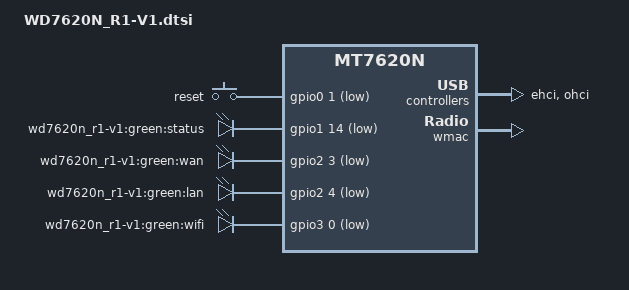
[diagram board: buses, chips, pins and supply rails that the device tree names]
#include "mt7620n.dtsi"

#include <dt-bindings/gpio/gpio.h>
#include <dt-bindings/input/input.h>

/ {
	compatible ="wd7620n_r1-v1-4M", "wd7620n_r1-v1-8M", "ralink,mt7620n-soc";

	gpio-keys-polled {
		compatible = "gpio-keys-polled";
		#address-cells = <1>;
		#size-cells = <0>;
		poll-interval = <20>;

		reset {
			label = "reset";
			gpios = <&gpio0 1 GPIO_ACTIVE_LOW>;
			linux,code = <KEY_RESTART>;
		};
	};

	gpio-leds {
		compatible = "gpio-leds";

		usb {
			label = "wd7620n_r1-v1:green:status";
			gpios = <&gpio1 14 GPIO_ACTIVE_LOW>;
		};

		wan {
			label = "wd7620n_r1-v1:green:wan";
			gpios = <&gpio2 3 GPIO_ACTIVE_LOW>;
		};

		lan {
			label = "wd7620n_r1-v1:green:lan";
			gpios = <&gpio2 4 GPIO_ACTIVE_LOW>;
		};

		wifi {
			label = "wd7620n_r1-v1:green:wifi";
			gpios = <&gpio3 0 GPIO_ACTIVE_LOW>;
		};
	};
};

&ehci {
	status = "okay";
};

&ohci {
	status = "okay";
};

&gpio0 {
	status = "okay";
};
 
&gpio1 {
	status = "okay";
};

&gpio2 {
	status = "okay";
};

&gpio3 {
	status = "okay";
};

&ethernet {
	mtd-mac-address = <&factory 0x4>;
	mediatek,portmap = "wllll";
};

&wmac {
	ralink,mtd-eeprom = <&factory 0>;
};

&pinctrl {
	state_default: pinctrl0 {
		default {
			ralink,group = "ephy", "wled", "pa", "i2c", "wdt", "uartf", "spi refclk";
			ralink,function = "gpio";
		};
	};
};
